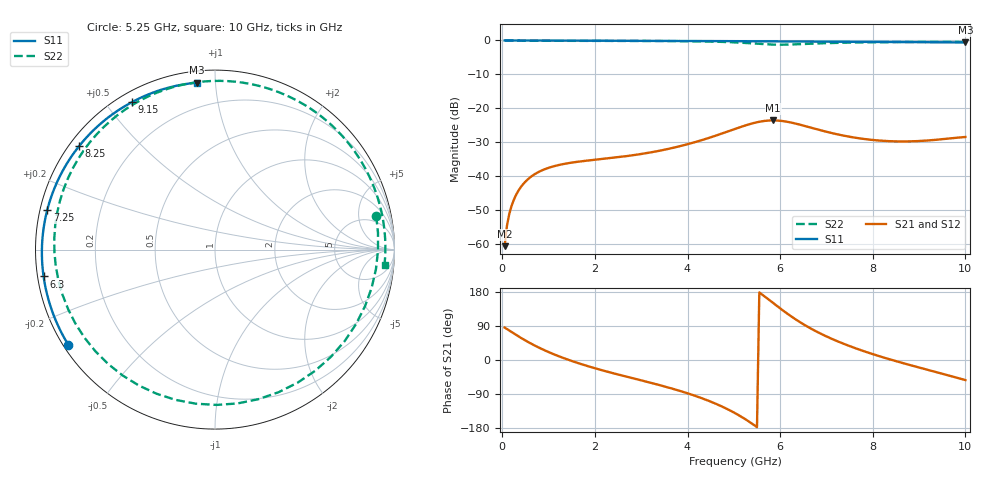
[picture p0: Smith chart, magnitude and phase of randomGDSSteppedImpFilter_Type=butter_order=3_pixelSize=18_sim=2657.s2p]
! freq	dB(S11)	phase(S11)	dB(S12)	phase(S12)
!  dB(S21)	phase(S21)	dB(S22)	phase(S22)
!S-par simulation data
#  GHz  S  DB  R 50
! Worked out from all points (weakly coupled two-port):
!   200 points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, 50 MHz to 10 GHz, reference 50 ohm
!   highest |S21| = -23.61 dB at 5.85 GHz (marker M1); lowest = -60.8 dB at 50 MHz (marker M2)
!   lowest |S11| = -0.6 dB at 10 GHz (marker M3), VSWR 29.98, Z = 3.01 + j44.8 ohm
!   |S11| at or under -10 dB: nowhere
!   |S22| runs from -1.3 to 0.0 dB; largest |S21 - S12| = 0
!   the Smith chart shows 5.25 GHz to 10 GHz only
!   S11 on the Smith chart (normalised r, x): 5.25 GHz: 0.01, -0.30; 6.3 GHz: 0.02, -0.08; 7.25 GHz: 0.02, +0.12; 8.25 GHz: 0.03, +0.34; 9.15 GHz: 0.04, +0.58; 10 GHz: 0.06, +0.90
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0.05  -0.00 -1.6  -60.77 85.6  -60.77 85.6  -0.01 -6.5
0.15  -0.01 -4.9  -51.30 77.8  -51.30 77.8  -0.03 -19.3
0.25  -0.01 -8.2  -47.03 69.9  -47.03 69.9  -0.04 -31.8
0.7  -0.03 -22.7  -39.50 38.2  -39.50 38.2  -0.09 -81.1
1.2  -0.05 -38.5  -36.85 10.8  -36.85 10.8  -0.11 -121.5
1.75  -0.07 -55.3  -35.63 -12.6  -35.63 -12.6  -0.11 -153.7
2.55  -0.10 -78.6  -34.40 -39.8  -34.40 -39.8  -0.12 170.1
3.4  -0.13 -101.6  -32.56 -66.4  -32.56 -66.4  -0.16 134.9
4.4  -0.17 -126.7  -29.05 -105.0  -29.05 -105.0  -0.30 84.7
5.05  -0.21 -142.3  -26.02 -141.8  -26.02 -141.8  -0.59 33.6
5.25  -0.23 -147.0  -25.10 -156.4  -25.10 -156.4  -0.75 11.9
5.55  -0.25 -153.9  -24.02 178.3  -24.02 178.3  -1.02 -27.8
5.85  -0.27 -160.8  -23.61 150.3  -23.61 150.3  -1.23 -73.8
6.05  -0.28 -165.4  -23.80 131.7  -23.80 131.7  -1.25 -104.7
6.3  -0.29 -171.1  -24.44 110.0  -24.44 110.0  -1.16 -139.6
6.7  -0.32 179.7  -25.89 80.5  -25.89 80.5  -0.94 176.1
7.25  -0.35 166.8  -27.77 48.8  -27.77 48.8  -0.70 132.4
7.7  -0.39 156.1  -28.90 27.8  -28.90 27.8  -0.59 104.7
8.25  -0.43 142.6  -29.67 6.0  -29.67 6.0  -0.50 75.5
8.35  -0.44 140.1  -29.74 2.3  -29.74 2.3  -0.49 70.5
9.15  -0.51 119.5  -29.58 -24.7  -29.58 -24.7  -0.43 32.7
10  -0.58 96.2  -28.52 -53.0  -28.52 -53.0  -0.46 -5.0
